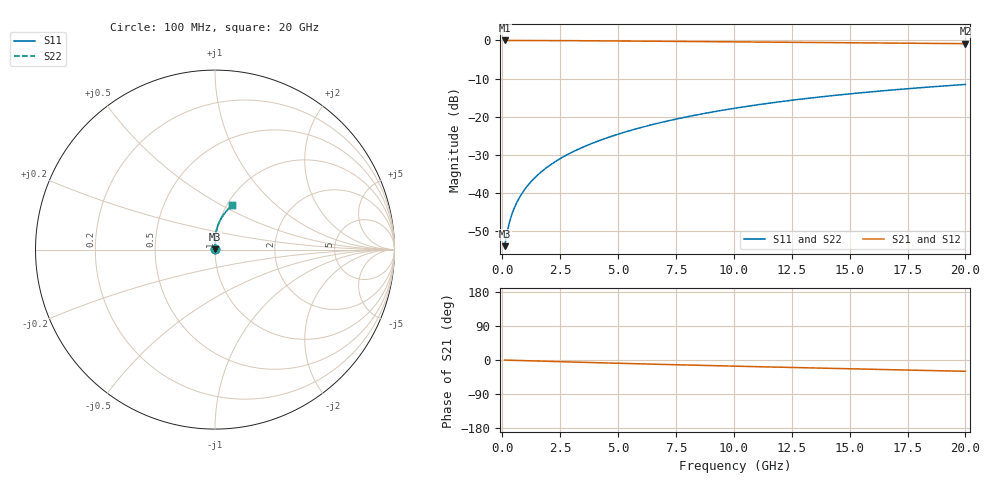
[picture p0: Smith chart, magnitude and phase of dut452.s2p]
! Touchstone file exported from HFSS 2024.1.0
!  File:  C:/UserFiles/LocalFiles/RDL_TSV_Batchsim/temp_RDL_bottom_452_1779685149.aedt
!  Generated:  01:01:31 PM May 25, 2026
!  Design:  RDL_bottom
!  Project:  temp_RDL_bottom_452_1779685149
!  Setup:  Setup1
!  Solution:  Sweep
! Variables:
!  dtsv = 10.80580581um
!  hbump = 3um
!  htsv = 69.45um
!  ldown = 431.03um
!  lrdl = 100um
!  p = 40
!  p1 = 48.81um
!  rhole = 1um
!  t = 450um
!  tdown = 4.52um
!  trdl = 3.915915916um
!  wdown = 24.34um
!  wrdl = 20um
# GHz S MA R 50.000000
! Terminal data exported
! Port[1] = RDL1_T1
! Port[2] = RDL1_T2
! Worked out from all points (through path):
!   200 points, 100 MHz to 20 GHz, reference 50 ohm
!   highest |S21| = -0.01 dB at 100 MHz (marker M1); lowest = -0.9 dB at 20 GHz (marker M2)
!   group delay of S21, straight-line fit = 4.09 ps
!   lowest |S11| = -53.9 dB at 100 MHz (marker M3), VSWR 1.00, Z = 50.2 + j0.127 ohm
!   |S11| at or under -10 dB: start of sweep to end of sweep
!   |S22| runs from -53.9 to -11.5 dB; largest |S21 - S12| = 2e-15
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0.1  0.00202 38.6  0.9984 -0.2  0.9984 -0.2  0.00202 38.6
! Gamma 0 0 0 0
! Port Impedance 50 0 50 0
0.2  0.002988 56.1  0.9983 -0.4  0.9983 -0.4  0.002988 56.1
0.3  0.004054 64.2  0.9981 -0.6  0.9981 -0.6  0.004054 64.2
0.4  0.005124 68.7  0.998 -0.7  0.998 -0.7  0.005125 68.7
0.5  0.006187 71.8  0.9979 -0.9  0.9979 -0.9  0.006187 71.8
0.6  0.007244 74.1  0.9978 -1.1  0.9978 -1.1  0.007245 74.1
0.8  0.009365 77.5  0.9975 -1.4  0.9975 -1.4  0.009366 77.5
1.1  0.01258 80.7  0.9971 -2.0  0.9971 -2.0  0.01259 80.7
1.3  0.01476 82.2  0.9967 -2.3  0.9967 -2.3  0.01476 82.2
1.6  0.01807 83.8  0.9961 -2.9  0.9961 -2.9  0.01807 83.8
2.1  0.0237 85.7  0.9949 -3.8  0.9949 -3.8  0.0237 85.7
2.7  0.03063 87.0  0.993 -4.8  0.993 -4.8  0.03063 87.0
3.5  0.0402 88.0  0.9899 -6.2  0.9899 -6.2  0.0402 88.0
4.2  0.04888 88.4  0.9869 -7.3  0.9869 -7.3  0.04888 88.4
5  0.05915 88.5  0.9831 -8.6  0.9831 -8.6  0.05915 88.5
6.8  0.08339 87.5  0.974 -11.5  0.974 -11.5  0.0834 87.6
8.4  0.1059 85.9  0.9656 -13.9  0.9656 -13.9  0.1059 85.9
10.1  0.1302 83.7  0.9568 -16.4  0.9568 -16.4  0.1302 83.7
11.7  0.1531 81.3  0.9485 -18.6  0.9485 -18.6  0.1532 81.4
13.4  0.1772 78.7  0.9399 -21.0  0.9399 -21.0  0.1773 78.8
16.7  0.2225 73.6  0.9232 -25.5  0.9232 -25.5  0.2225 73.6
20  0.2649 68.6  0.9065 -29.8  0.9065 -29.8  0.265 68.7
